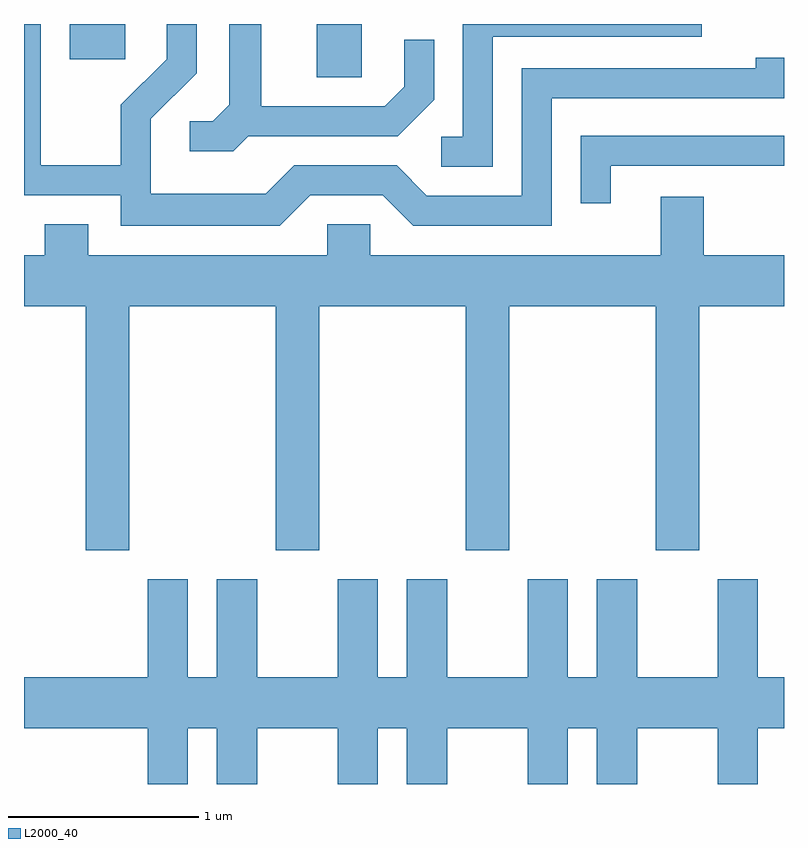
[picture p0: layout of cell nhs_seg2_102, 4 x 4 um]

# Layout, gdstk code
import gdstk
lib = gdstk.Library(unit=1e-6, precision=1e-09)
def R(c, l, rs):  # rectangles x0, y0, x1, y1
    for r in rs: c.add(gdstk.rectangle(r[:2], r[2:], *l))
def P(c, l, *ps):  # polygons
    for p in ps: c.add(gdstk.Polygon(p, *l))
L2000_40 = (2000, 40)

nhs_seg2_102 = lib.new_cell('nhs_seg2_102')
R(nhs_seg2_102, L2000_40, [(189.151,1049.521,189.389,1049.802), (187.851,1049.616,188.144,1049.802)])
P(nhs_seg2_102, L2000_40, [(189.117,1048.901),(189.499,1048.901),(189.659,1048.741),(190.389,1048.741),(190.389,1049.411),(191.611,1049.411),(191.611,1049.624),(191.461,1049.624),(191.461,1049.569),(190.231,1049.569),(190.231,1048.899),(189.732,1048.899),(189.572,1049.059),(189.034,1049.059),(188.884,1048.909),(188.279,1048.909),(188.279,1049.304),(188.519,1049.544),(188.519,1049.802),(188.361,1049.802),(188.361,1049.617),(188.121,1049.377),(188.121,1049.059),(187.699,1049.059),(187.699,1049.802),(187.611,1049.802),(187.611,1048.901),(188.121,1048.901),(188.121,1048.741),(188.957,1048.741)],
  [(188.792,1049.211),(189.577,1049.211),(189.769,1049.404),(189.769,1049.718),(189.611,1049.718),(189.611,1049.472),(189.509,1049.369),(188.859,1049.369),(188.859,1049.802),(188.691,1049.802),(188.691,1049.377),(188.604,1049.289),(188.483,1049.289),(188.483,1049.131),(188.712,1049.131)],
  [(190.079,1049.736),(191.178,1049.736),(191.178,1049.802),(189.921,1049.802),(189.921,1049.209),(189.808,1049.209),(189.808,1049.051),(190.079,1049.051)],
  [(190.699,1049.056),(191.611,1049.056),(191.611,1049.214),(190.541,1049.214),(190.541,1048.858),(190.699,1048.858)],
  [(188.164,1048.316),(188.936,1048.316),(188.936,1047.031),(189.164,1047.031),(189.164,1048.316),(189.936,1048.316),(189.936,1047.031),(190.164,1047.031),(190.164,1048.316),(190.936,1048.316),(190.936,1047.031),(191.164,1047.031),(191.164,1048.316),(191.611,1048.316),(191.611,1048.584),(191.189,1048.584),(191.189,1048.894),(190.961,1048.894),(190.961,1048.584),(189.434,1048.584),(189.434,1048.749),(189.206,1048.749),(189.206,1048.584),(187.949,1048.584),(187.949,1048.749),(187.721,1048.749),(187.721,1048.584),(187.611,1048.584),(187.611,1048.316),(187.936,1048.316),(187.936,1047.031),(188.164,1047.031)],
  [(188.474,1046.096),(188.626,1046.096),(188.626,1045.802),(188.839,1045.802),(188.839,1046.096),(189.261,1046.096),(189.261,1045.802),(189.474,1045.802),(189.474,1046.096),(189.626,1046.096),(189.626,1045.802),(189.839,1045.802),(189.839,1046.096),(190.261,1046.096),(190.261,1045.802),(190.474,1045.802),(190.474,1046.096),(190.626,1046.096),(190.626,1045.802),(190.839,1045.802),(190.839,1046.096),(191.261,1046.096),(191.261,1045.802),(191.474,1045.802),(191.474,1046.096),(191.611,1046.096),(191.611,1046.364),(191.474,1046.364),(191.474,1046.879),(191.261,1046.879),(191.261,1046.364),(190.839,1046.364),(190.839,1046.879),(190.626,1046.879),(190.626,1046.364),(190.474,1046.364),(190.474,1046.879),(190.261,1046.879),(190.261,1046.364),(189.839,1046.364),(189.839,1046.879),(189.626,1046.879),(189.626,1046.364),(189.474,1046.364),(189.474,1046.879),(189.261,1046.879),(189.261,1046.364),(188.839,1046.364),(188.839,1046.879),(188.626,1046.879),(188.626,1046.364),(188.474,1046.364),(188.474,1046.879),(188.261,1046.879),(188.261,1046.364),(187.611,1046.364),(187.611,1046.096),(188.261,1046.096),(188.261,1045.802),(188.474,1045.802)])

lib.write_gds('nhs_seg2_102.gds')
